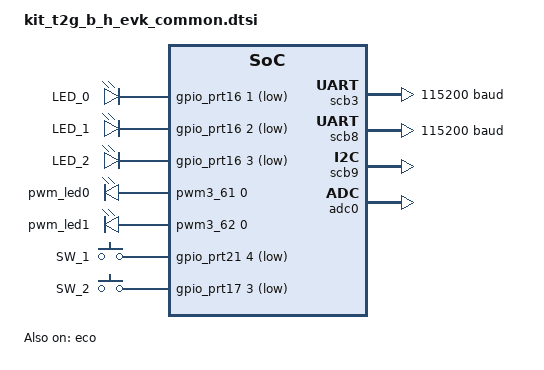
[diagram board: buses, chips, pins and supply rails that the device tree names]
/*
 * SPDX-FileCopyrightText: <text>Copyright (c) 2026 Infineon Technologies AG,
 * or an affiliate of Infineon Technologies AG. All rights reserved.</text>
 * Copyright (c) 2026 Linumiz
 *
 * SPDX-License-Identifier: Apache-2.0
 */
#include <arm/infineon/cat1c/traveo/cyt4bf/cyt4bfbche.dtsi>
#include <zephyr/dt-bindings/input/input-event-codes.h>
#include <zephyr/dt-bindings/pwm/pwm.h>

/ {
	aliases {
		led0 = &user_led0;
		led1 = &user_led1;
		led2 = &user_led2;
		sw0 = &user_bt0;
		sw1 = &user_bt1;
	};

	leds {
		compatible = "gpio-leds";

		user_led0: led_0 {
			label = "LED_0";
			gpios = <&gpio_prt16 1 GPIO_ACTIVE_LOW>;
		};

		user_led1: led_1 {
			label = "LED_1";
			gpios = <&gpio_prt16 2 GPIO_ACTIVE_LOW>;
		};

		user_led2: led_2 {
			label = "LED_2";
			gpios = <&gpio_prt16 3 GPIO_ACTIVE_LOW>;
		};
	};

	pwmleds {
		compatible = "pwm-leds";

		pwm_led0: pwm_led_0 {
			pwms = <&pwm3_61 0 PWM_MSEC(20) PWM_POLARITY_INVERTED>;
		};

		pwm_led1: pwm_led_1 {
			pwms = <&pwm3_62 0 PWM_MSEC(20) PWM_POLARITY_INVERTED>;
		};
	};

	gpio_keys {
		compatible = "gpio-keys";

		user_bt0: user_btn0 {
			label = "SW_1";
			gpios = <&gpio_prt21 4 (GPIO_PULL_UP | GPIO_ACTIVE_LOW)>;
			zephyr,code = <INPUT_KEY_0>;
		};

		user_bt1: user_btn1 {
			label = "SW_2";
			gpios = <&gpio_prt17 3 (GPIO_PULL_UP | GPIO_ACTIVE_LOW)>;
			zephyr,code = <INPUT_KEY_1>;
		};
	};

	reserved-memory {
                #address-cells = <1>;
                #size-cells = <1>;

                sram_m0plus: memory@28000800 {
                    reg = <0x28000800 DT_SIZE_K(30)>;
                };

                sram_m7_0: memory@28008000 {
                    reg = <0x28008000 DT_SIZE_K(224)>;
                };

                sram_m7_1: memory@28040000 {
                    reg = <0x28040000 DT_SIZE_K(256)>;
                };
       };
};


&code_flash0 {
        partitions {
                ranges;
                #address-cells = <1>;
                #size-cells = <1>;

                m0p_partition: partition_m0p@0 {
                       compatible = "zephyr,mapped-partition";
                        label = "m0p_partition";
                        reg = <0x0 DT_SIZE_K(512)>;
                        status = "disabled";
                };

                m7_0_partition: partition@80000 {
                       compatible = "zephyr,mapped-partition";
                        label = "m7_0_partition";
                        reg = <0x80000 DT_SIZE_K(2048)>;
                };

                m7_1_partition: partition@280000 {
                       compatible = "zephyr,mapped-partition";
                        label = "m7_1_partition";
                        reg = <0x280000 DT_SIZE_K(5568)>;
                };
        };
 };

uart3: &scb3 {
	compatible = "infineon,uart";
	current-speed = <115200>;
	clocks = <&clk_peri1 33 0 1>;

	/* UART pins */
	pinctrl-0 = <&p13_1_scb3_uart_tx &p13_0_scb3_uart_rx>;
	pinctrl-names = "default";

	dmas = <&dma1 22>, <&dma1 23>;
	dma-names = "tx", "rx";
};

spi0: &scb4 {
	#address-cells = <1>;
	#size-cells = <0>;
	compatible = "infineon,spi";
	clocks = <&clk_peri1 34 1 3>;

	/* SPI pins */
	pinctrl-0 = <&p10_0_scb4_spi_m_miso &p10_1_scb4_spi_m_mosi &p10_2_scb4_spi_m_clk>;
	pinctrl-names = "default";
	cs-gpios = <&gpio_prt10 3 GPIO_ACTIVE_LOW>;

	dmas = <&dma1 24>, <&dma1 25>;
	dma-names = "tx", "rx";
};

uart8: &scb8 {
        compatible = "infineon,uart";
        current-speed = <115200>;
        clocks = <&clk_peri1 38 0 2>;

        /* UART pins */
        pinctrl-0 = <&p12_1_scb8_uart_tx &p12_0_scb8_uart_rx
                    &p12_2_scb8_uart_rts &p12_3_scb8_uart_cts>;

        pinctrl-names = "default";

	dmas = <&dma1 32>, <&dma1 33>;
	dma-names = "tx", "rx";
 };

i2c9: &scb9 {
    compatible = "infineon,i2c";
    #address-cells = <1>;
    #size-cells = <0>;
    /* I2C pins */
    pinctrl-0 = <&p15_1_scb9_i2c_sda &p15_2_scb9_i2c_scl>;
    pinctrl-names = "default";
    clocks = <&clk_peri1 39 0 0>;
    status = "okay";
};

&adc0 {
        #address-cells = <1>;
        #size-cells = <0>;
        clocks = <&clk_peri1 42 0 3>;
        clock-frequency = <26670000>;
        status = "okay";
};

&dma1 {
	status = "okay";
};

&gpio_prt16 {
	status = "okay";
};

&gpio_prt17 {
	status = "okay";
};

&gpio_prt21 {
	status = "okay";
};

&eco {
        status = "okay";
};

&pll0 {
        status = "okay";
};

&pll1 {
        status = "okay";
};

&pll2 {
        status = "okay";
};

&pll3 {
        status = "okay";
};

&clk_hf0 {
        status = "okay";
};

&clk_hf1 {
        status = "okay";
};

&clk_hf2 {
        status = "okay";
};

&clk_hf3 {
        status = "okay";
};

&clk_hf4 {
        status = "okay";
};

&clk_hf5 {
        status = "okay";
};

&clk_hf6 {
        status = "okay";
};

&clk_hf7 {
        status = "okay";
};

&clk_peri1 {
        status = "okay";
};
